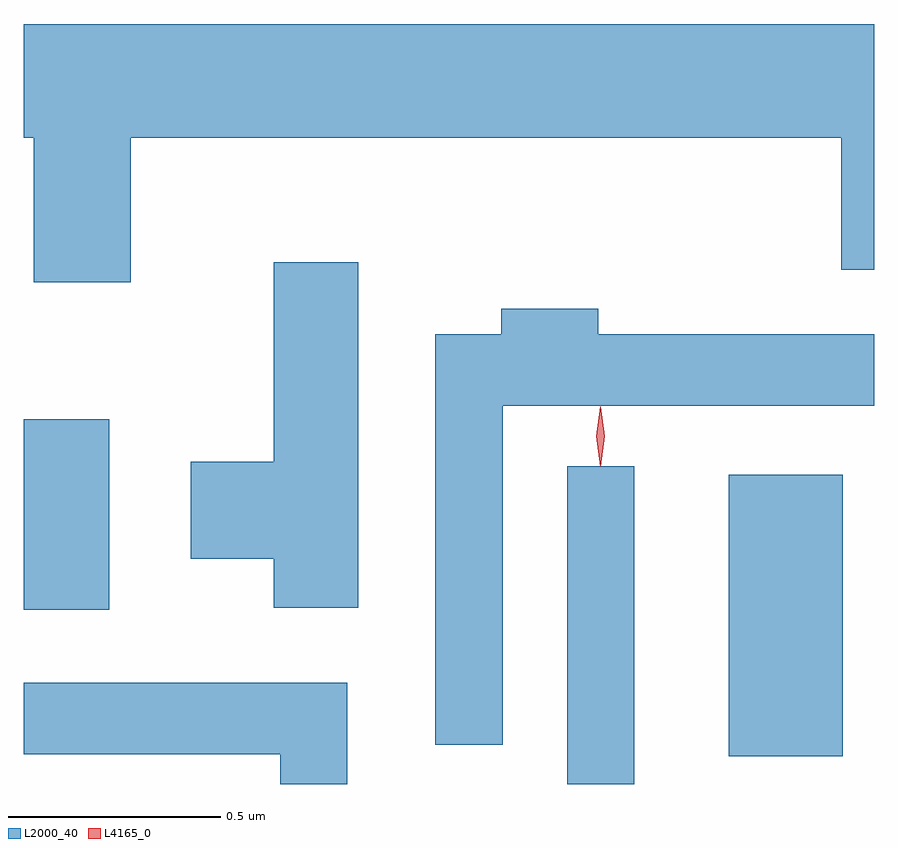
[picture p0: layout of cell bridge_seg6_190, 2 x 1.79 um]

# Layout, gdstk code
import gdstk
lib = gdstk.Library(unit=1e-6, precision=1e-09)
def R(c, l, rs):  # rectangles x0, y0, x1, y1
    for r in rs: c.add(gdstk.rectangle(r[:2], r[2:], *l))
def P(c, l, *ps):  # polygons
    for p in ps: c.add(gdstk.Polygon(p, *l))
L2000_40 = (2000, 40)
L4165_0 = (4165, 0)

bridge_seg6_190 = lib.new_cell('bridge_seg6_190')
R(bridge_seg6_190, L2000_40, [(1082.156,1595.136,1082.314,1595.883), (1082.536,1595.201,1082.804,1595.864), (1080.878,1595.546,1081.079,1595.994)])
P(bridge_seg6_190, L2000_40, [(1081.129,1596.656),(1082.801,1596.656),(1082.801,1596.346),(1082.878,1596.346),(1082.878,1596.924),(1080.878,1596.924),(1080.878,1596.656),(1080.901,1596.656),(1080.901,1596.316),(1081.129,1596.316)],
  [(1081.664,1596.364),(1081.466,1596.364),(1081.466,1595.894),(1081.271,1595.894),(1081.271,1595.666),(1081.466,1595.666),(1081.466,1595.551),(1081.664,1595.551)],
  [(1082.004,1596.026),(1082.878,1596.026),(1082.878,1596.194),(1082.229,1596.194),(1082.229,1596.254),(1082.001,1596.254),(1082.001,1596.194),(1081.846,1596.194),(1081.846,1595.228),(1082.004,1595.228)],
  [(1081.639,1595.374),(1080.878,1595.374),(1080.878,1595.206),(1081.481,1595.206),(1081.481,1595.136),(1081.639,1595.136)])
P(bridge_seg6_190, L4165_0, [(1082.234,1595.884),(1082.234,1595.884),(1082.224,1595.954),(1082.234,1596.023),(1082.234,1596.023),(1082.235,1596.023),(1082.244,1595.954),(1082.235,1595.884)],
  [(1082.234,1595.887),(1082.224,1595.954),(1082.234,1596.02),(1082.234,1596.02),(1082.235,1596.02),(1082.244,1595.954),(1082.235,1595.887),(1082.235,1595.887)])

lib.write_gds('bridge_seg6_190.gds')
